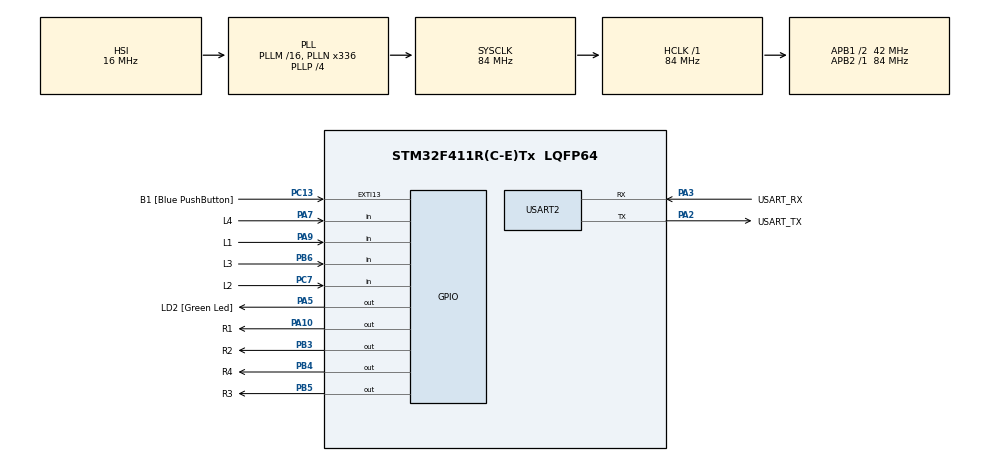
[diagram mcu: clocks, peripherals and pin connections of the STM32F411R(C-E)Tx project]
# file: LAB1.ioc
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Mcu.Family=STM32F4
Mcu.Name=STM32F411R(C-E)Tx
Mcu.Package=LQFP64
NVIC.PriorityGroup=NVIC_PRIORITYGROUP_0
PA10.GPIO_Label=R1
PA10.GPIO_ModeDefaultOutputPP=GPIO_MODE_OUTPUT_OD
PA10.GPIO_PuPd=GPIO_NOPULL
PA10.PinState=GPIO_PIN_SET
PA10.Signal=GPIO_Output
PA13.GPIO_Label=TMS
PA13.Mode=Serial_Wire
PA13.Signal=SYS_JTMS-SWDIO
PA14.GPIO_Label=TCK
PA14.Mode=Serial_Wire
PA14.Signal=SYS_JTCK-SWCLK
PA2.GPIO_Label=USART_TX
PA2.Mode=Asynchronous
PA2.Signal=USART2_TX
PA3.GPIO_Label=USART_RX
PA3.Mode=Asynchronous
PA3.Signal=USART2_RX
PA5.GPIO_Label=LD2 [Green Led]
PA5.GPIO_ModeDefaultOutputPP=GPIO_MODE_OUTPUT_PP
PA5.GPIO_PuPd=GPIO_NOPULL
PA5.PinState=GPIO_PIN_RESET
PA5.Signal=GPIO_Output
PA7.GPIO_Label=L4
PA7.GPIO_PuPd=GPIO_PULLUP
PA7.Signal=GPIO_Input
PA9.GPIO_Label=L1
PA9.GPIO_PuPd=GPIO_PULLUP
PA9.Signal=GPIO_Input
PB3.GPIO_Label=R2
PB3.GPIO_ModeDefaultOutputPP=GPIO_MODE_OUTPUT_OD
PB3.GPIO_PuPd=GPIO_NOPULL
PB3.PinState=GPIO_PIN_SET
PB3.Signal=GPIO_Output
PB4.GPIO_Label=R4
PB4.GPIO_ModeDefaultOutputPP=GPIO_MODE_OUTPUT_OD
PB4.GPIO_PuPd=GPIO_NOPULL
PB4.PinState=GPIO_PIN_SET
PB4.Signal=GPIO_Output
PB5.GPIO_Label=R3
PB5.GPIO_ModeDefaultOutputPP=GPIO_MODE_OUTPUT_OD
PB5.GPIO_PuPd=GPIO_NOPULL
PB5.PinState=GPIO_PIN_SET
PB5.Signal=GPIO_Output
PB6.GPIO_Label=L3
PB6.GPIO_PuPd=GPIO_PULLUP
PB6.Signal=GPIO_Input
PC13-ANTI_TAMP.GPIO_Label=B1 [Blue PushButton]
PC13-ANTI_TAMP.GPIO_ModeDefaultEXTI=GPIO_MODE_IT_FALLING
PC13-ANTI_TAMP.Signal=GPXTI13
PC14-OSC32_IN.Mode=LSE-External-Oscillator
PC14-OSC32_IN.Signal=RCC_OSC32_IN
PC15-OSC32_OUT.Mode=LSE-External-Oscillator
PC15-OSC32_OUT.Signal=RCC_OSC32_OUT
PC7.GPIO_Label=L2
PC7.GPIO_PuPd=GPIO_PULLUP
PC7.Signal=GPIO_Input
PH0\ -\ OSC_IN.Mode=HSE-External-Clock-Source
PH0\ -\ OSC_IN.Signal=RCC_OSC_IN
PH1\ -\ OSC_OUT.Mode=HSE-External-Clock-Source
PH1\ -\ OSC_OUT.Signal=RCC_OSC_OUT
ProjectManager.HeapSize=0x200
ProjectManager.StackSize=0x400
ProjectManager.TargetToolchain=STM32CubeIDE
RCC.48MHZClocksFreq_Value=84000000
RCC.AHBFreq_Value=84000000
RCC.APB1CLKDivider=RCC_HCLK_DIV2
RCC.APB1Freq_Value=42000000
RCC.APB1TimFreq_Value=84000000
RCC.APB2Freq_Value=84000000
RCC.APB2TimFreq_Value=84000000
RCC.CortexFreq_Value=84000000
RCC.FLatency-AdvancedSettings=FLASH_LATENCY_2
RCC.HCLKFreq_Value=84000000
RCC.HSE_VALUE=8000000
RCC.HSI_VALUE=16000000
RCC.PLLN=336
RCC.PLLP=RCC_PLLP_DIV4
RCC.SYSCLKFreq_VALUE=84000000
RCC.SYSCLKSource=RCC_SYSCLKSOURCE_PLLCLK
RCC.VCOOutputFreq_Value=336000000
USART2.VirtualMode=VM_ASYNC
board=NUCLEO-F411RE

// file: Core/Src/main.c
/* USER CODE BEGIN Header */
/**
  ******************************************************************************
  * @file           : main.c
  * @brief          : Main program body
  ******************************************************************************
  * @attention
  *
  * Copyright (c) 2023 STMicroelectronics.
  * All rights reserved.
  *
  * This software is licensed under terms that can be found in the LICENSE file
  * in the root directory of this software component.
  * If no LICENSE file comes with this software, it is provided AS-IS.
  *
  ******************************************************************************
  */
/* USER CODE END Header */
#include "main.h"

UART_HandleTypeDef huart2;

/* USER CODE BEGIN PV */

//create structure of Portpin , Typedef it to type name PortPin
typedef struct _PortPin
{
	GPIO_TypeDef* PORT;
	uint16_t PIN;
}PortPin;

//declare Portpin R,L
PortPin R[4] = { { GPIOA, GPIO_PIN_10 }, { GPIOB, GPIO_PIN_3 }, { GPIOB,
GPIO_PIN_5 }, { GPIOB, GPIO_PIN_4 } };

PortPin L[4] = { { GPIOA, GPIO_PIN_9 }, { GPIOC, GPIO_PIN_7 }, { GPIOB,
GPIO_PIN_6 }, { GPIOA, GPIO_PIN_7 } };

//for button Contenter
uint16_t ButtonMatrix = 0;
uint16_t LastButtonMatrix = 0;
int state;
int Toggle;

/* USER CODE END PV */

void SystemClock_Config(void);
static void MX_GPIO_Init(void);
static void MX_USART2_UART_Init(void);
/* USER CODE BEGIN PFP */
void ReadMatrixButton_1Row();
/* USER CODE END PFP */

int main(void)
{

  /* MCU Configuration--------------------------------------------------------*/

  /* Reset of all peripherals, Initializes the Flash interface and the Systick. */
  HAL_Init();

  /* Configure the system clock */
  SystemClock_Config();

  /* Initialize all configured peripherals */
  MX_GPIO_Init();
  MX_USART2_UART_Init();

  /* Infinite loop */
  while (1)
  {

    /* USER CODE BEGIN 3 */

	  //call function every 10 ms == 100hz
	  static uint32_t timestamp = 0;
	  if(HAL_GetTick()>= timestamp)
	  {
		  timestamp = HAL_GetTick()+50;
		  ReadMatrixButton_1Row();

		  if (ButtonMatrix > LastButtonMatrix)
		  {
			  Toggle = 1;
		  }
		  else
		  {
			  Toggle = 0;
		  }
		  LastButtonMatrix = ButtonMatrix;
		  switch (state)
		  {
		  case 0:
			  if (Toggle == 1)
			  {
				  if (ButtonMatrix == 512)
				  {
					  state = 1;
				  }
				  else
				  {
					  state = 13;
				  }
			  }
			  break;
		  case 1:
			  if (Toggle == 1)
			  {
				  if (ButtonMatrix == 2)
				  {
					  state = 2;
				  }
				  else
				  {
					  state = 13;
				  }
			  }
			  break;
		  case 2:
			  if (Toggle == 1)
			  {
				  if (ButtonMatrix == 256)
				  {
					  state = 3;
				  }
				  else
				  {
					  state = 13;
				  }
			  }
			  break;
		  case 3:
			  if (Toggle == 1)
			  {
				  if (ButtonMatrix == 2)
				  {
					  state = 4;
				  }
				  else
				  {
					  state = 13;
				  }
			  }
			  break;
		  case 4:
			  if (Toggle == 1)
			  {
				  if (ButtonMatrix == 8)
				  {
					  state = 5;
				  }
				  else
				  {
					  state = 13;
				  }
			  }
			  break;
		  case 5:
			  if (Toggle == 1)
			  {
				  if (ButtonMatrix == 32)
				  {
					  state = 6;
				  }
				  else
				  {
					  state = 13;
				  }
			  }
			  break;
		  case 6:
			  if (Toggle == 1)
			  {
				  if (ButtonMatrix == 8)
				  {
					  state = 7;
				  }
				  else
				  {
					  state = 13;
				  }
			  }
			  break;
		  case 7:
			  if (Toggle == 1)
			  {
				  if (ButtonMatrix == 8)
				  {
					  state = 8;
				  }
				  else
				  {
					  state = 13;
				  }
			  }
			  break;
		  case 8:
			  if (Toggle == 1)
			  {
				  if (ButtonMatrix == 8)
				  {
					  state = 9;
				  }
				  else
				  {
					  state = 13;
				  }
			  }
			  break;
		  case 9:
			  if (Toggle == 1)
			  {
				  if (ButtonMatrix == 16)
				  {
					  state = 10;
				  }
				  else
				  {
					  state = 13;
				  }
			  }
			  break;
		  case 10:
			  if (Toggle == 1)
			  {
				  if (ButtonMatrix == 1)
				  {
					  state = 11;
				  }
				  else
				  {
					  state = 13;
				  }
			  }
			  break;
		  case 11:
			  if (Toggle == 1)
			  {
				  if (ButtonMatrix == 32768)
				  {
					  state = 12;
				  }
				  else
				  {
					  state = 13;
				  }
			  }
			  break;
		  case 12:
			  HAL_GPIO_WritePin(GPIOA, GPIO_PIN_5, 1);
			  	if (Toggle == 1)
			  	{
			  		if (ButtonMatrix == 4096)
			  		{
			  			HAL_GPIO_WritePin(GPIOA, GPIO_PIN_5, 0);
			  			state = 0;
			  	     }
			  	}
			  	break;
		  case 13:
			  if (Toggle == 1)
			  {
				  if (ButtonMatrix == 4096)
				  {
					  state = 0;
				  }
				  else
				  {
					  state = 13;
				  }
			  }
			  break;
		}
  /* USER CODE END 3 */
}
}
}

void SystemClock_Config(void)
{
  RCC_OscInitTypeDef RCC_OscInitStruct = {0};
  RCC_ClkInitTypeDef RCC_ClkInitStruct = {0};

  /** Configure the main internal regulator output voltage
  */
  __HAL_RCC_PWR_CLK_ENABLE();
  __HAL_PWR_VOLTAGESCALING_CONFIG(PWR_REGULATOR_VOLTAGE_SCALE1);

  /** Initializes the RCC Oscillators according to the specified parameters
  * in the RCC_OscInitTypeDef structure.
  */
  RCC_OscInitStruct.OscillatorType = RCC_OSCILLATORTYPE_HSI;
  RCC_OscInitStruct.HSIState = RCC_HSI_ON;
  RCC_OscInitStruct.HSICalibrationValue = RCC_HSICALIBRATION_DEFAULT;
  RCC_OscInitStruct.PLL.PLLState = RCC_PLL_ON;
  RCC_OscInitStruct.PLL.PLLSource = RCC_PLLSOURCE_HSI;
  RCC_OscInitStruct.PLL.PLLM = 16;
  RCC_OscInitStruct.PLL.PLLN = 336;
  RCC_OscInitStruct.PLL.PLLP = RCC_PLLP_DIV4;
  RCC_OscInitStruct.PLL.PLLQ = 4;
  if (HAL_RCC_OscConfig(&RCC_OscInitStruct) != HAL_OK)
  {
    Error_Handler();
  }

  /** Initializes the CPU, AHB and APB buses clocks
  */
  RCC_ClkInitStruct.ClockType = RCC_CLOCKTYPE_HCLK|RCC_CLOCKTYPE_SYSCLK
                              |RCC_CLOCKTYPE_PCLK1|RCC_CLOCKTYPE_PCLK2;
  RCC_ClkInitStruct.SYSCLKSource = RCC_SYSCLKSOURCE_PLLCLK;
  RCC_ClkInitStruct.AHBCLKDivider = RCC_SYSCLK_DIV1;
  RCC_ClkInitStruct.APB1CLKDivider = RCC_HCLK_DIV2;
  RCC_ClkInitStruct.APB2CLKDivider = RCC_HCLK_DIV1;

  if (HAL_RCC_ClockConfig(&RCC_ClkInitStruct, FLASH_LATENCY_2) != HAL_OK)
  {
    Error_Handler();
  }
}

static void MX_USART2_UART_Init(void)
{

  huart2.Instance = USART2;
  huart2.Init.BaudRate = 115200;
  huart2.Init.WordLength = UART_WORDLENGTH_8B;
  huart2.Init.StopBits = UART_STOPBITS_1;
  huart2.Init.Parity = UART_PARITY_NONE;
  huart2.Init.Mode = UART_MODE_TX_RX;
  huart2.Init.HwFlowCtl = UART_HWCONTROL_NONE;
  huart2.Init.OverSampling = UART_OVERSAMPLING_16;
  if (HAL_UART_Init(&huart2) != HAL_OK)
  {
    Error_Handler();
  }

}

static void MX_GPIO_Init(void)
{
  GPIO_InitTypeDef GPIO_InitStruct = {0};

  /* GPIO Ports Clock Enable */
  __HAL_RCC_GPIOC_CLK_ENABLE();
  __HAL_RCC_GPIOH_CLK_ENABLE();
  __HAL_RCC_GPIOA_CLK_ENABLE();
  __HAL_RCC_GPIOB_CLK_ENABLE();

  /*Configure GPIO pin Output Level */
  HAL_GPIO_WritePin(LD2_GPIO_Port, LD2_Pin, GPIO_PIN_RESET);

  /*Configure GPIO pin Output Level */
  HAL_GPIO_WritePin(R1_GPIO_Port, R1_Pin, GPIO_PIN_SET);

  /*Configure GPIO pin Output Level */
  HAL_GPIO_WritePin(GPIOB, R2_Pin|R4_Pin|R3_Pin, GPIO_PIN_SET);

  /*Configure GPIO pin : B1_Pin */
  GPIO_InitStruct.Pin = B1_Pin;
  GPIO_InitStruct.Mode = GPIO_MODE_IT_FALLING;
  GPIO_InitStruct.Pull = GPIO_NOPULL;
  HAL_GPIO_Init(B1_GPIO_Port, &GPIO_InitStruct);

  /*Configure GPIO pin : LD2_Pin */
  GPIO_InitStruct.Pin = LD2_Pin;
  GPIO_InitStruct.Mode = GPIO_MODE_OUTPUT_PP;
  GPIO_InitStruct.Pull = GPIO_NOPULL;
  GPIO_InitStruct.Speed = GPIO_SPEED_FREQ_LOW;
  HAL_GPIO_Init(LD2_GPIO_Port, &GPIO_InitStruct);

  /*Configure GPIO pins : L4_Pin L1_Pin */
  GPIO_InitStruct.Pin = L4_Pin|L1_Pin;
  GPIO_InitStruct.Mode = GPIO_MODE_INPUT;
  GPIO_InitStruct.Pull = GPIO_PULLUP;
  HAL_GPIO_Init(GPIOA, &GPIO_InitStruct);

  /*Configure GPIO pin : L2_Pin */
  GPIO_InitStruct.Pin = L2_Pin;
  GPIO_InitStruct.Mode = GPIO_MODE_INPUT;
  GPIO_InitStruct.Pull = GPIO_PULLUP;
  HAL_GPIO_Init(L2_GPIO_Port, &GPIO_InitStruct);

  /*Configure GPIO pin : R1_Pin */
  GPIO_InitStruct.Pin = R1_Pin;
  GPIO_InitStruct.Mode = GPIO_MODE_OUTPUT_OD;
  GPIO_InitStruct.Pull = GPIO_NOPULL;
  GPIO_InitStruct.Speed = GPIO_SPEED_FREQ_LOW;
  HAL_GPIO_Init(R1_GPIO_Port, &GPIO_InitStruct);

  /*Configure GPIO pins : R2_Pin R4_Pin R3_Pin */
  GPIO_InitStruct.Pin = R2_Pin|R4_Pin|R3_Pin;
  GPIO_InitStruct.Mode = GPIO_MODE_OUTPUT_OD;
  GPIO_InitStruct.Pull = GPIO_NOPULL;
  GPIO_InitStruct.Speed = GPIO_SPEED_FREQ_LOW;
  HAL_GPIO_Init(GPIOB, &GPIO_InitStruct);

  /*Configure GPIO pin : L3_Pin */
  GPIO_InitStruct.Pin = L3_Pin;
  GPIO_InitStruct.Mode = GPIO_MODE_INPUT;
  GPIO_InitStruct.Pull = GPIO_PULLUP;
  HAL_GPIO_Init(L3_GPIO_Port, &GPIO_InitStruct);

}

/* USER CODE BEGIN 4 */
void ReadMatrixButton_1Row() {
    static uint8_t X = 0;
    register int i;
    for (i = 0; i < 4; i++) {
        if (HAL_GPIO_ReadPin(L[i].PORT, L[i].PIN)) {
            ButtonMatrix &= ~(1 << (X * 4 + i));
        } else {
            ButtonMatrix |= 1 << (X * 4 + i);
        }
    }
    HAL_GPIO_WritePin(R[X].PORT, R[X].PIN, 1);
    HAL_GPIO_WritePin(R[(X + 1) % 4].PORT, R[(X + 1) % 4].PIN, 0);
    X++;
    X %= 4;
}

/* USER CODE END 4 */

void Error_Handler(void)
{
  __disable_irq();
  while (1)
  {
  }
}
